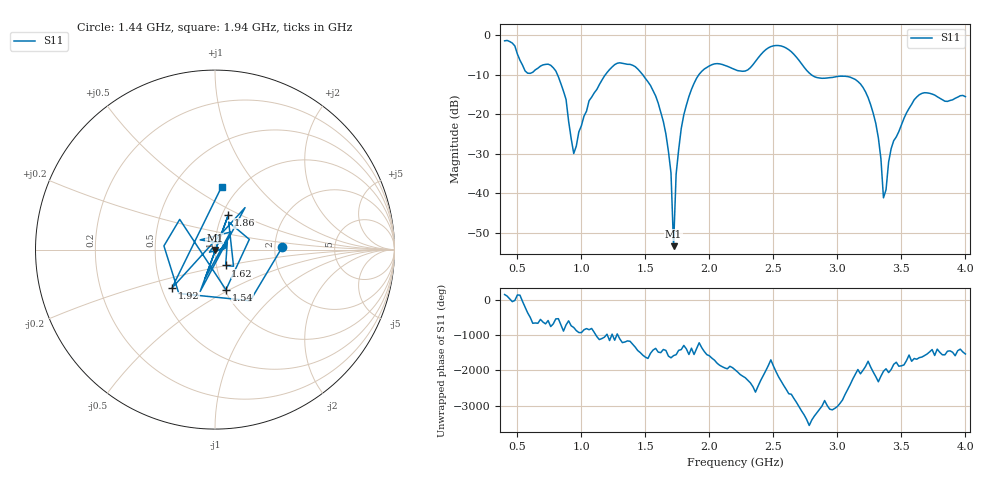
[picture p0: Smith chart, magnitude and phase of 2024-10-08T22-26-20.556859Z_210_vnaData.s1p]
! Created with skrf (http://scikit-rf.org).
# Hz S RI R 50.0
!freq ReS11 ImS11
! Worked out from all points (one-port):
!   181 points, 400 MHz to 4 GHz, reference 50 ohm
!   lowest |S11| = -53.4 dB at 1.72 GHz (marker M1), VSWR 1.00, Z = 49.8 - j0.133 ohm
!   |S11| at or under -10 dB: 813.7 MHz to 1.186 GHz (372.7 MHz wide, 37.3 % of centre); 1.48 GHz to 1.917 GHz (436.4 MHz wide, 25.7 % of centre); 2.798 GHz to end of sweep
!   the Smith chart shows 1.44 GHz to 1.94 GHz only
!   S11 on the Smith chart (normalised r, x): 1.44 GHz: 2.20, +0.08; 1.54 GHz: 1.02, -0.48; 1.62 GHz: 1.11, -0.20; 1.86 GHz: 1.07, +0.43; 1.92 GHz: 0.57, -0.27; 1.94 GHz: 0.83, +0.66
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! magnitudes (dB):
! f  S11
! 400 MHz  -1.4
! 580 MHz  -9.6
! 760 MHz  -7.6
! 860 MHz  -14.1
! 940 MHz  -29.9
! 1.06 GHz  -16.5
! 1.3 GHz  -6.9
! 1.44 GHz  -8.5
! 1.54 GHz  -12.7
! 1.62 GHz  -19.5
! 1.7 GHz  -34.9
! 1.72 GHz  -53.4
! 1.74 GHz  -35.2
! 1.76 GHz  -28.9
! 1.86 GHz  -13.7
! 1.92 GHz  -9.8
! 1.94 GHz  -9.1
! 2.2 GHz  -8.6
! 2.5 GHz  -2.6
! 2.66 GHz  -4.8
! 2.82 GHz  -10.4
! 3.1 GHz  -10.6
! 3.28 GHz  -19.7
! 3.34 GHz  -31.2
! 3.36 GHz  -41.2
! 3.42 GHz  -28.7
! 3.56 GHz  -18.5
! 4 GHz  -15.5
